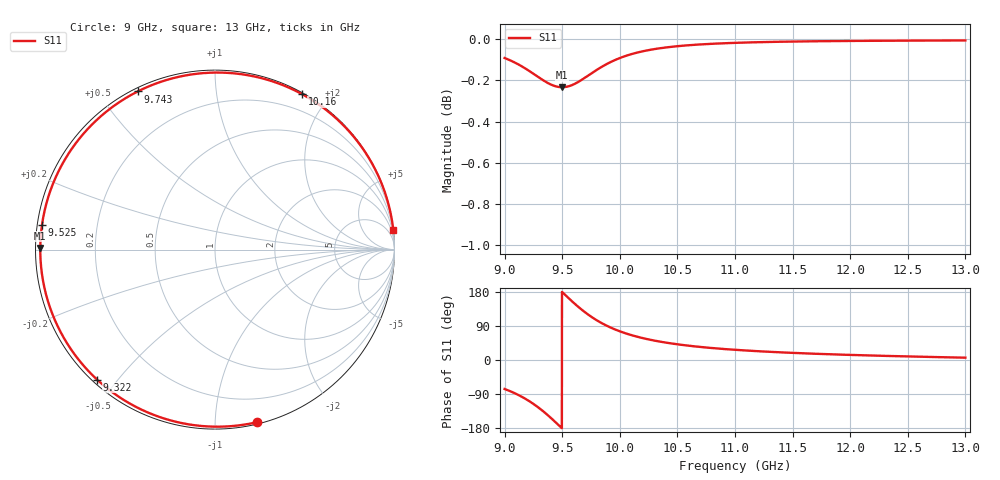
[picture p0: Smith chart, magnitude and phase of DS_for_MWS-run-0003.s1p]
! TOUCHSTONE file generated by CST DESIGN STUDIO
! Date and time: Tue Feb  4 12:29:40 2025
! Project name: C:\Work\MatlabApps\UnitCellOptimizationMatlab\CST\unitcell.cst
! Tree item: Tasks\Sweep1\SPara1\S-Parameters
! Header version: 2024
! Port assignment regex: !\s*Touchstone port\s*([0-9]+)\s*=\s*(CST MWS port|CST DES external port|CST DES block port)\s*(.+)\s* \(\"(.*)\"\)(\s*mode\s*([0-9]+))?.*
! Touchstone port assignment:
! Touchstone port 1 = CST DES external port 1 ("")
# GHz S MA R 50
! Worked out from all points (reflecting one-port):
!   4001 points, 9 GHz to 13 GHz, reference 50 ohm
!   lowest |S11| = -0.2 dB at 9.499 GHz (marker M1), VSWR 74.56, Z = 0.671 + j0.249 ohm
!   phase of S11 starts at -76 deg and turns -277 deg over the sweep
!   S11 on the Smith chart (normalised r, x): 9 GHz: 0.01, -1.27; 9.322 GHz: 0.01, -0.44; 9.525 GHz: 0.01, +0.07; 9.743 GHz: 0.01, +0.62; 10.16 GHz: 0.01, +1.70; 13 GHz: 0, +19
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9  0.9896 -76.5
9.084  0.9872 -87.1
9.185  0.9836 -103.2
9.256  0.9807 -117.1
9.322  0.9779 -132.2
9.369  0.9761 -144.1
9.419  0.9745 -157.7
9.46  0.9738 -169.3
9.499  0.9735 179.4
9.5  0.9735 179.1
9.525  0.9736 171.9
9.579  0.9745 156.5
9.639  0.9764 140.4
9.69  0.9784 127.9
9.743  0.9807 116.0
9.796  0.9829 105.5
9.854  0.9851 95.5
9.926  0.9875 84.8
10  0.9896 75.7
10.158  0.9927 60.8
10.313  0.9947 50.5
10.5  0.9961 41.4
10.722  0.9972 33.7
11  0.998 26.9
11.5  0.9987 18.8
12  0.9991 13.4
12.5  0.9993 9.4
13  0.9993 6.1
